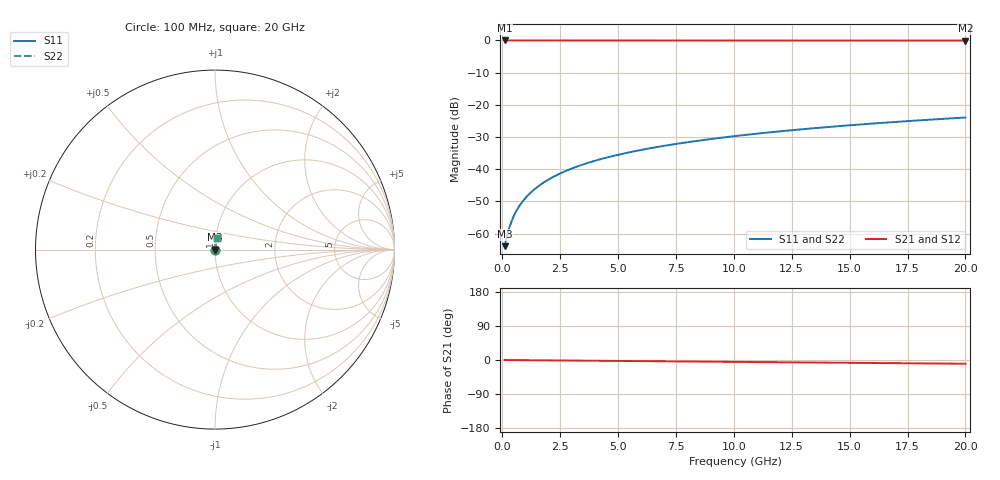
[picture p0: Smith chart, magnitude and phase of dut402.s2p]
! Touchstone file exported from HFSS 2026.1.0
!  File:  C:/ffzhzh/LocalFiles/Ansys_Project_Files/temp_train_TSV_402_1783020343_55676.aedt
!  Generated:  03:28:05 AM Jul  3, 2026
!  Design:  TSV
!  Project:  temp_train_TSV_402_1783020343_55676
! Variables:
!  h_bsmrdl = 2um
!  h_ox = 20um
!  h_rdl = 5um
!  h_sub = 94.75um
!  h_tmrdl = 5um
!  h_tsv = 94.75um
!  h_via = 3um
!  l_bsmrdl = 300um
!  l_sub = 409.4um
!  l_tmrdl = 200um
!  m_sub = 200um
!  pitch = 33.83um
!  r_tsv = 4.7um
!  s_tmrdl = 10um
!  w_bsmrdl = 18um
!  w_sub = 500um
!  w_tmrdl = 12um
!  x_tsv_center1 = 206um
!  x_tsv_center2 = 524um
!  x_tsv_center3 = 736um
!  x_tsv_center4 = 1054um
!  x_tsv_center5 = 1266um
!  x_tsv_center6 = 1584um
# GHz S MA R 50.000000
! Terminal data exported
! Port[1] = TSV1_1_T1
! Port[2] = TSV1_1_T2
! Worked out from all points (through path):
!   200 points, 100 MHz to 20 GHz, reference 50 ohm
!   highest |S21| = 0.00 dB at 100 MHz (marker M1); lowest = 0.0 dB at 20 GHz (marker M2)
!   group delay of S21, straight-line fit = 1.36 ps
!   lowest |S11| = -63.9 dB at 100 MHz (marker M3), VSWR 1.00, Z = 50.1 + j0.0368 ohm
!   |S11| at or under -10 dB: start of sweep to end of sweep
!   |S22| runs from -63.9 to -23.9 dB; largest |S21 - S12| = 4.1e-15
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0.1  0.0006372 35.2  0.9995 -0.1  0.9995 -0.1  0.0006372 35.2
! Gamma 0 0 0 0
! Port Impedance 50 0 50 0
0.2  0.0009052 53.9  0.9995 -0.1  0.9995 -0.1  0.0009052 53.9
0.3  0.001222 63.2  0.9995 -0.2  0.9995 -0.2  0.001222 63.2
0.4  0.001553 68.4  0.9994 -0.2  0.9994 -0.2  0.001553 68.4
0.5  0.001888 71.7  0.9994 -0.3  0.9994 -0.3  0.001888 71.7
0.6  0.002224 73.9  0.9994 -0.3  0.9994 -0.3  0.002224 73.9
0.8  0.002896 76.9  0.9994 -0.4  0.9994 -0.4  0.002896 76.9
1.1  0.003904 79.4  0.9993 -0.6  0.9993 -0.6  0.003904 79.4
1.5  0.005249 81.2  0.9992 -0.8  0.9992 -0.8  0.005249 81.2
1.8  0.006256 81.9  0.9992 -0.9  0.9992 -0.9  0.006256 81.9
2.1  0.007261 82.4  0.9991 -1.1  0.9991 -1.1  0.007261 82.4
2.7  0.009257 82.9  0.999 -1.4  0.999 -1.4  0.009257 82.9
3.5  0.01189 83.1  0.9989 -1.8  0.9989 -1.8  0.01189 83.1
4.2  0.01417 83.1  0.9987 -2.1  0.9987 -2.1  0.01417 83.1
5  0.01674 83.0  0.9985 -2.5  0.9985 -2.5  0.01674 83.0
5.9  0.01962 82.8  0.9984 -2.9  0.9984 -2.9  0.01962 82.8
6.8  0.02247 82.6  0.9982 -3.4  0.9982 -3.4  0.02247 82.6
8.3  0.0272 82.2  0.9979 -4.1  0.9979 -4.1  0.0272 82.2
10.1  0.03285 81.7  0.9976 -5.0  0.9976 -5.0  0.03285 81.7
13.4  0.04314 80.5  0.9969 -6.6  0.9969 -6.6  0.04314 80.5
16.7  0.05336 79.2  0.9962 -8.2  0.9962 -8.2  0.05336 79.2
20  0.06347 77.8  0.9953 -9.8  0.9953 -9.8  0.06347 77.8
